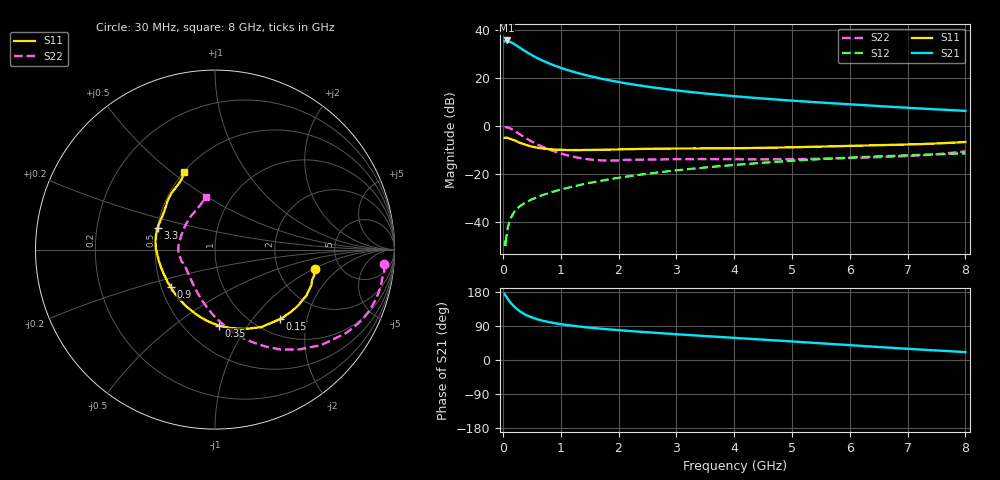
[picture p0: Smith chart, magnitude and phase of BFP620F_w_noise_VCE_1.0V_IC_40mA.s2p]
! Infineon Technologies  Discrete & RF Semiconductors
! BFP620F
! VCE =  1.0 V,  IC =  40 mA
! Common Emitter S-Parameters:  Dec 2014
# GHz  S  MA  R  50
!  f  S11  S21  S12  S22
! GHz  MAG  ANG  MAG  ANG  MAG  ANG  MAG  ANG
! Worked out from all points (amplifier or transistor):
!   95 points, 30 MHz to 8 GHz, reference 50 ohm
!   highest |S21| = 35.8 dB at 70 MHz (marker M1)
!   |S21| within 3 dB of that: start of sweep to 292 MHz
!   unconditionally stable (mu >= 1): 2.154 GHz to end of sweep
!   at 300 MHz: K = 0.45, MSG = 33.0 dB, |S12| = -33.4 dB
!   at 3.3 GHz: K = 1.03, MAG = 14.9 dB, |S12| = -17.8 dB
!   at 8 GHz: K = 1.05, MAG = 7.5 dB, |S12| = -11.4 dB
!   lowest NFmin = 1.36 dB at 450 MHz
!   S11 on the Smith chart (normalised r, x): 30 MHz: 3.29, -1.04; 150 MHz: 1.28, -1.39; 350 MHz: 0.72, -0.74; 900 MHz: 0.56, -0.26; 3.3 GHz: 0.50, +0.14; 8 GHz: 0.50, +0.56
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0.03  0.5698 -10.8  58.78 174.1  0.0032 100.2  0.9454 -4.9
0.05  0.5669 -17.6  61.05 169.4  0.0031 89.8  0.9449 -10.0
0.07  0.5705 -23.2  61.59 164.7  0.0054 86.5  0.9426 -14.7
0.1  0.5588 -33.2  59.33 158.0  0.0087 81.6  0.9242 -21.9
0.15  0.5295 -47.2  55.63 148.5  0.0128 75.7  0.864 -32.7
0.2  0.503 -59.2  51.29 140.4  0.0164 70.8  0.796 -41.9
0.25  0.4724 -69.5  47.04 133.6  0.019 67.7  0.7282 -49.8
0.3  0.446 -78.7  42.98 127.9  0.0214 66.1  0.6655 -56.8
0.35  0.424 -87.2  39.12 123.1  0.0235 64.6  0.608 -62.6
0.45  0.3883 -100.8  33.02 115.5  0.0274 63.1  0.5152 -72.7
0.6  0.3537 -117.5  26.25 107.3  0.0329 62.7  0.4121 -84.8
0.7  0.3391 -126.1  22.97 103.2  0.0367 62.7  0.3638 -91.8
0.9  0.323 -139.8  18.25 97.1  0.0437 63.2  0.2934 -104.0
1.1  0.3163 -150.4  15.07 92.4  0.0506 63.5  0.2479 -115.5
1.4  0.3171 -162.3  11.91 87.0  0.0614 63.5  0.2086 -131.6
2  0.3258 -178.7  8.354 78.8  0.0833 61.9  0.1914 -157.3
2.7  0.3373 168.3  6.196 71.1  0.1083 58.6  0.2009 -172.0
3.3  0.3418 159.5  5.082 65.1  0.1294 55.2  0.2042 180.0
4.1  0.3464 149.2  4.117 57.5  0.1575 50.1  0.203 169.9
5.4  0.3704 136.7  3.167 45.0  0.2014 40.6  0.2074 148.6
6.7  0.4041 124.3  2.538 32.4  0.238 30.3  0.2292 126.1
8  0.4657 111.5  2.081 20.8  0.2688 20.5  0.2968 100.2
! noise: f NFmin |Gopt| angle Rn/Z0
0.45  1.36  0.16  -173  0.16
0.9  1.38  0.16  -172  0.13
1.5  1.39  0.21  -152  0.11
1.8  1.4  0.21  -151  0.11
1.9  1.41  0.21  -150  0.11
2.4  1.43  0.21  214  0.13
3.5  1.49  0.22  220  0.17
5.5  1.63  0.27  247  0.17
6  1.67  0.28  261  0.2
